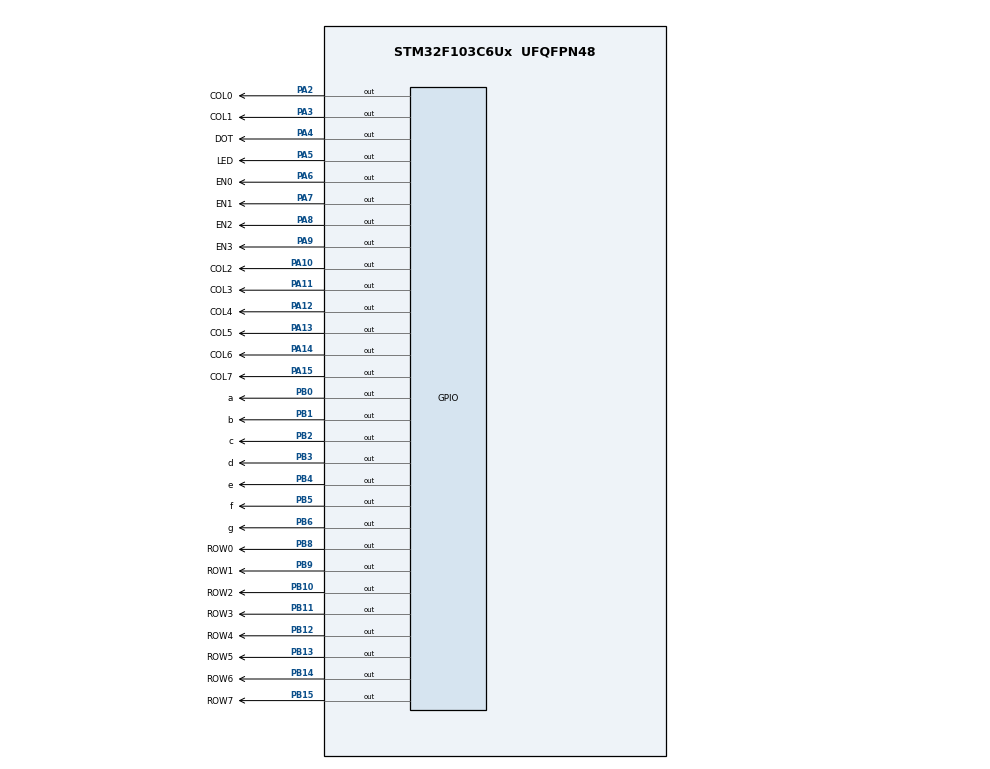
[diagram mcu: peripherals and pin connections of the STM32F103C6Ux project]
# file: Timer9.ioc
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Mcu.Family=STM32F1
Mcu.Name=STM32F103C6Ux
Mcu.Package=UFQFPN48
NVIC.PriorityGroup=NVIC_PRIORITYGROUP_4
NVIC.TIM2_IRQn=true\:0\:0\:false\:false\:true\:true\:true
PA10.GPIO_Label=COL2
PA10.Signal=GPIO_Output
PA11.GPIO_Label=COL3
PA11.Signal=GPIO_Output
PA12.GPIO_Label=COL4
PA12.Signal=GPIO_Output
PA13.GPIO_Label=COL5
PA13.Signal=GPIO_Output
PA14.GPIO_Label=COL6
PA14.Signal=GPIO_Output
PA15.GPIO_Label=COL7
PA15.Signal=GPIO_Output
PA2.GPIO_Label=COL0
PA2.Signal=GPIO_Output
PA3.GPIO_Label=COL1
PA3.Signal=GPIO_Output
PA4.GPIO_Label=DOT
PA4.Signal=GPIO_Output
PA5.GPIO_Label=LED
PA5.Signal=GPIO_Output
PA6.GPIO_Label=EN0
PA6.Signal=GPIO_Output
PA7.GPIO_Label=EN1
PA7.Signal=GPIO_Output
PA8.GPIO_Label=EN2
PA8.Signal=GPIO_Output
PA9.GPIO_Label=EN3
PA9.Signal=GPIO_Output
PB0.GPIO_Label=a
PB0.Signal=GPIO_Output
PB1.GPIO_Label=b
PB1.Signal=GPIO_Output
PB10.GPIO_Label=ROW2
PB10.Signal=GPIO_Output
PB11.GPIO_Label=ROW3
PB11.Signal=GPIO_Output
PB12.GPIO_Label=ROW4
PB12.Signal=GPIO_Output
PB13.GPIO_Label=ROW5
PB13.Signal=GPIO_Output
PB14.GPIO_Label=ROW6
PB14.Signal=GPIO_Output
PB15.GPIO_Label=ROW7
PB15.Signal=GPIO_Output
PB2.GPIO_Label=c
PB2.Signal=GPIO_Output
PB3.GPIO_Label=d
PB3.Signal=GPIO_Output
PB4.GPIO_Label=e
PB4.Signal=GPIO_Output
PB5.GPIO_Label=f
PB5.Signal=GPIO_Output
PB6.GPIO_Label=g
PB6.Signal=GPIO_Output
PB8.GPIO_Label=ROW0
PB8.Signal=GPIO_Output
PB9.GPIO_Label=ROW1
PB9.Signal=GPIO_Output
ProjectManager.HeapSize=0x200
ProjectManager.StackSize=0x400
ProjectManager.TargetToolchain=STM32CubeIDE
RCC.APB1Freq_Value=8000000
RCC.APB2Freq_Value=8000000
TIM2.Period=10
TIM2.Prescaler=7999
VP_SYS_VS_ND.Mode=No_Debug
VP_TIM2_VS_ClockSourceINT.Mode=Internal
board=custom

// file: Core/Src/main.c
/* USER CODE BEGIN Header */
/**
  ******************************************************************************
  * @file           : main.c
  * @brief          : Main program body
  ******************************************************************************
  * @attention
  *
  * <h2><center>&copy; Copyright (c) 2022 STMicroelectronics.
  * All rights reserved.</center></h2>
  *
  * This software component is licensed by ST under BSD 3-Clause license,
  * the "License"; You may not use this file except in compliance with the
  * License. You may obtain a copy of the License at:
  *                        opensource.org/licenses/BSD-3-Clause
  *
  ******************************************************************************
  */
/* USER CODE END Header */
#include "main.h"

/* USER CODE BEGIN Includes */
#include "software_timer.h"

/* USER CODE END Includes */

TIM_HandleTypeDef htim2;

void SystemClock_Config(void);
static void MX_GPIO_Init(void);
static void MX_TIM2_Init(void);

/* USER CODE BEGIN 0 */

void HAL_TIM_PeriodElapsedCallback(TIM_HandleTypeDef *htim){
	timerRun();
}

void display7SEG(int num){
 	  HAL_GPIO_WritePin ( a_GPIO_Port , a_Pin , GPIO_PIN_RESET ) ;
 	  HAL_GPIO_WritePin ( b_GPIO_Port , b_Pin , GPIO_PIN_RESET ) ;
 	  HAL_GPIO_WritePin ( c_GPIO_Port , c_Pin , GPIO_PIN_RESET ) ;
 	  HAL_GPIO_WritePin ( d_GPIO_Port , d_Pin , GPIO_PIN_RESET ) ;
 	  HAL_GPIO_WritePin ( e_GPIO_Port , e_Pin , GPIO_PIN_RESET ) ;
 	  HAL_GPIO_WritePin ( f_GPIO_Port , f_Pin , GPIO_PIN_RESET ) ;
 	  HAL_GPIO_WritePin ( g_GPIO_Port , g_Pin , GPIO_PIN_RESET ) ;
 	  if(num == 1 || num == 4)  HAL_GPIO_WritePin ( a_GPIO_Port , a_Pin , GPIO_PIN_SET ) ;
 	  if(num == 5 || num == 6)  HAL_GPIO_WritePin ( b_GPIO_Port , b_Pin , GPIO_PIN_SET ) ;
 	  if(num == 2)  HAL_GPIO_WritePin ( c_GPIO_Port , c_Pin , GPIO_PIN_SET ) ;
 	  if(num == 1 || num == 4 || num == 7)  HAL_GPIO_WritePin ( d_GPIO_Port , d_Pin , GPIO_PIN_SET ) ;
 	  if(num != 0 && num != 2 && num != 6 && num != 8)  HAL_GPIO_WritePin ( e_GPIO_Port , e_Pin , GPIO_PIN_SET ) ;
 	  if(num == 1 || num == 2 || num == 3 || num == 7)  HAL_GPIO_WritePin ( f_GPIO_Port , f_Pin , GPIO_PIN_SET ) ;
 	  if(num == 0 || num == 1 || num == 7)  HAL_GPIO_WritePin ( g_GPIO_Port , g_Pin , GPIO_PIN_SET ) ;
   }
int led_buffer [4] = {0 , 1 , 2 , 3};
void update7SEG ( int index ) {
   switch ( index ) {
	   case 0:
	   // Display the first 7 SEG with led_buffer [0]
		   HAL_GPIO_WritePin(EN0_GPIO_Port, EN0_Pin, GPIO_PIN_RESET );
		   HAL_GPIO_WritePin(EN1_GPIO_Port, EN1_Pin, GPIO_PIN_SET );
		   HAL_GPIO_WritePin(EN2_GPIO_Port, EN2_Pin, GPIO_PIN_SET );
		   HAL_GPIO_WritePin(EN3_GPIO_Port, EN3_Pin, GPIO_PIN_SET );
		   display7SEG(led_buffer[0]);
		   break ;
	   case 1:
	   // Display the second 7 SEG with led_buffer [1]
		   HAL_GPIO_WritePin(EN0_GPIO_Port, EN0_Pin, GPIO_PIN_SET );
		   HAL_GPIO_WritePin(EN1_GPIO_Port, EN1_Pin, GPIO_PIN_RESET );
		   HAL_GPIO_WritePin(EN2_GPIO_Port, EN2_Pin, GPIO_PIN_SET );
		   HAL_GPIO_WritePin(EN3_GPIO_Port, EN3_Pin, GPIO_PIN_SET );
		   display7SEG(led_buffer[1]);
		   break ;
	   case 2:
	   // Display the third 7 SEG with led_buffer [2]
		   HAL_GPIO_WritePin(EN0_GPIO_Port, EN0_Pin, GPIO_PIN_SET );
		   HAL_GPIO_WritePin(EN1_GPIO_Port, EN1_Pin, GPIO_PIN_SET );
		   HAL_GPIO_WritePin(EN2_GPIO_Port, EN2_Pin, GPIO_PIN_RESET );
		   HAL_GPIO_WritePin(EN3_GPIO_Port, EN3_Pin, GPIO_PIN_SET );
		   display7SEG(led_buffer[2]);
		   break ;
	   case 3:
	   // Display the forth 7 SEG with led_buffer [3]
		   HAL_GPIO_WritePin(EN0_GPIO_Port, EN0_Pin, GPIO_PIN_SET );
		   HAL_GPIO_WritePin(EN1_GPIO_Port, EN1_Pin, GPIO_PIN_SET );
		   HAL_GPIO_WritePin(EN2_GPIO_Port, EN2_Pin, GPIO_PIN_SET );
		   HAL_GPIO_WritePin(EN3_GPIO_Port, EN3_Pin, GPIO_PIN_RESET );
		   display7SEG(led_buffer[3]);
		   break ;
	   default :
		   break ;
		   }
	   }

const int MAX_LED = 4;
int index_led = 0;

void updateClockBuffer(int hour, int minute){
	if(hour < 10)
	{
		led_buffer[0] = 0;
		led_buffer[1] = hour;
	}
	else {
		led_buffer[0] = hour/10;
		led_buffer[1] = hour%10;
	}
	if(minute < 10)
	{
		led_buffer[2] = 0;
		led_buffer[3] = minute;
	}
	else {
		led_buffer[2] = minute/10;
		led_buffer[3] = minute%10;
	}
	if(index_led >= MAX_LED) index_led = 0;
	update7SEG(index_led);
	index_led++;
}

const int MAX_LED_MATRIX = 8;
int index_led_matrix = 0;
int matrix_buffer [8][8] = {
							{0,0,0,0,0,0,0,0},
							{0,0,0,0,0,0,0,0},
							{0,0,0,0,0,0,0,0},
							{0,0,0,0,0,0,0,0},
							{0,0,0,0,0,0,0,0},
							{0,0,0,0,0,0,0,0},
							{0,0,0,0,0,0,0,0},
							{0,0,0,0,0,0,0,0}
						   };

void updateLEDMatrix(int index){
	switch(index){
	case 0:
		HAL_GPIO_WritePin(COL0_GPIO_Port, COL0_Pin, GPIO_PIN_SET);
			HAL_GPIO_WritePin(COL1_GPIO_Port, COL1_Pin, GPIO_PIN_RESET);
			HAL_GPIO_WritePin(COL2_GPIO_Port, COL2_Pin, GPIO_PIN_RESET);
			HAL_GPIO_WritePin(COL3_GPIO_Port, COL3_Pin, GPIO_PIN_RESET);
			HAL_GPIO_WritePin(COL4_GPIO_Port, COL4_Pin, GPIO_PIN_RESET);
			HAL_GPIO_WritePin(COL5_GPIO_Port, COL5_Pin, GPIO_PIN_RESET);
			HAL_GPIO_WritePin(COL6_GPIO_Port, COL6_Pin, GPIO_PIN_RESET);
			HAL_GPIO_WritePin(COL7_GPIO_Port, COL7_Pin, GPIO_PIN_RESET);
		break;
	case 1:
		HAL_GPIO_WritePin(COL0_GPIO_Port, COL0_Pin, GPIO_PIN_RESET);
			HAL_GPIO_WritePin(COL1_GPIO_Port, COL1_Pin, GPIO_PIN_SET);
			HAL_GPIO_WritePin(COL2_GPIO_Port, COL2_Pin, GPIO_PIN_RESET);
			HAL_GPIO_WritePin(COL3_GPIO_Port, COL3_Pin, GPIO_PIN_RESET);
			HAL_GPIO_WritePin(COL4_GPIO_Port, COL4_Pin, GPIO_PIN_RESET);
			HAL_GPIO_WritePin(COL5_GPIO_Port, COL5_Pin, GPIO_PIN_RESET);
			HAL_GPIO_WritePin(COL6_GPIO_Port, COL6_Pin, GPIO_PIN_RESET);
			HAL_GPIO_WritePin(COL7_GPIO_Port, COL7_Pin, GPIO_PIN_RESET);
		break;
	case 2:
		HAL_GPIO_WritePin(COL0_GPIO_Port, COL0_Pin, GPIO_PIN_RESET);
			HAL_GPIO_WritePin(COL1_GPIO_Port, COL1_Pin, GPIO_PIN_RESET);
			HAL_GPIO_WritePin(COL2_GPIO_Port, COL2_Pin, GPIO_PIN_SET);
			HAL_GPIO_WritePin(COL3_GPIO_Port, COL3_Pin, GPIO_PIN_RESET);
			HAL_GPIO_WritePin(COL4_GPIO_Port, COL4_Pin, GPIO_PIN_RESET);
			HAL_GPIO_WritePin(COL5_GPIO_Port, COL5_Pin, GPIO_PIN_RESET);
			HAL_GPIO_WritePin(COL6_GPIO_Port, COL6_Pin, GPIO_PIN_RESET);
			HAL_GPIO_WritePin(COL7_GPIO_Port, COL7_Pin, GPIO_PIN_RESET);
		break;
	case 3:
		HAL_GPIO_WritePin(COL0_GPIO_Port, COL0_Pin, GPIO_PIN_RESET);
			HAL_GPIO_WritePin(COL1_GPIO_Port, COL1_Pin, GPIO_PIN_RESET);
			HAL_GPIO_WritePin(COL2_GPIO_Port, COL2_Pin, GPIO_PIN_RESET);
			HAL_GPIO_WritePin(COL3_GPIO_Port, COL3_Pin, GPIO_PIN_SET);
			HAL_GPIO_WritePin(COL4_GPIO_Port, COL4_Pin, GPIO_PIN_RESET);
			HAL_GPIO_WritePin(COL5_GPIO_Port, COL5_Pin, GPIO_PIN_RESET);
			HAL_GPIO_WritePin(COL6_GPIO_Port, COL6_Pin, GPIO_PIN_RESET);
			HAL_GPIO_WritePin(COL7_GPIO_Port, COL7_Pin, GPIO_PIN_RESET);
		break;
	case 4:
		HAL_GPIO_WritePin(COL0_GPIO_Port, COL0_Pin, GPIO_PIN_RESET);
			HAL_GPIO_WritePin(COL1_GPIO_Port, COL1_Pin, GPIO_PIN_RESET);
			HAL_GPIO_WritePin(COL2_GPIO_Port, COL2_Pin, GPIO_PIN_RESET);
			HAL_GPIO_WritePin(COL3_GPIO_Port, COL3_Pin, GPIO_PIN_RESET);
			HAL_GPIO_WritePin(COL4_GPIO_Port, COL4_Pin, GPIO_PIN_SET);
			HAL_GPIO_WritePin(COL5_GPIO_Port, COL5_Pin, GPIO_PIN_RESET);
			HAL_GPIO_WritePin(COL6_GPIO_Port, COL6_Pin, GPIO_PIN_RESET);
			HAL_GPIO_WritePin(COL7_GPIO_Port, COL7_Pin, GPIO_PIN_RESET);
		break;
	case 5:
		HAL_GPIO_WritePin(COL0_GPIO_Port, COL0_Pin, GPIO_PIN_RESET);
			HAL_GPIO_WritePin(COL1_GPIO_Port, COL1_Pin, GPIO_PIN_RESET);
			HAL_GPIO_WritePin(COL2_GPIO_Port, COL2_Pin, GPIO_PIN_RESET);
			HAL_GPIO_WritePin(COL3_GPIO_Port, COL3_Pin, GPIO_PIN_RESET);
			HAL_GPIO_WritePin(COL4_GPIO_Port, COL4_Pin, GPIO_PIN_RESET);
			HAL_GPIO_WritePin(COL5_GPIO_Port, COL5_Pin, GPIO_PIN_SET);
			HAL_GPIO_WritePin(COL6_GPIO_Port, COL6_Pin, GPIO_PIN_RESET);
			HAL_GPIO_WritePin(COL7_GPIO_Port, COL7_Pin, GPIO_PIN_RESET);
		break;
	case 6:
		HAL_GPIO_WritePin(COL0_GPIO_Port, COL0_Pin, GPIO_PIN_RESET);
			HAL_GPIO_WritePin(COL1_GPIO_Port, COL1_Pin, GPIO_PIN_RESET);
			HAL_GPIO_WritePin(COL2_GPIO_Port, COL2_Pin, GPIO_PIN_RESET);
			HAL_GPIO_WritePin(COL3_GPIO_Port, COL3_Pin, GPIO_PIN_RESET);
			HAL_GPIO_WritePin(COL4_GPIO_Port, COL4_Pin, GPIO_PIN_RESET);
			HAL_GPIO_WritePin(COL5_GPIO_Port, COL5_Pin, GPIO_PIN_RESET);
			HAL_GPIO_WritePin(COL6_GPIO_Port, COL6_Pin, GPIO_PIN_SET);
			HAL_GPIO_WritePin(COL7_GPIO_Port, COL7_Pin, GPIO_PIN_RESET);
		break;
	case 7:
		HAL_GPIO_WritePin(COL0_GPIO_Port, COL0_Pin, GPIO_PIN_RESET);
			HAL_GPIO_WritePin(COL1_GPIO_Port, COL1_Pin, GPIO_PIN_RESET);
			HAL_GPIO_WritePin(COL2_GPIO_Port, COL2_Pin, GPIO_PIN_RESET);
			HAL_GPIO_WritePin(COL3_GPIO_Port, COL3_Pin, GPIO_PIN_RESET);
			HAL_GPIO_WritePin(COL4_GPIO_Port, COL4_Pin, GPIO_PIN_RESET);
			HAL_GPIO_WritePin(COL5_GPIO_Port, COL5_Pin, GPIO_PIN_RESET);
			HAL_GPIO_WritePin(COL6_GPIO_Port, COL6_Pin, GPIO_PIN_RESET);
			HAL_GPIO_WritePin(COL7_GPIO_Port, COL7_Pin, GPIO_PIN_SET);
		break;
	}
}

void clearRow(){
	HAL_GPIO_WritePin(ROW0_GPIO_Port, ROW0_Pin, GPIO_PIN_RESET);
	HAL_GPIO_WritePin(ROW1_GPIO_Port, ROW1_Pin, GPIO_PIN_RESET);
	HAL_GPIO_WritePin(ROW2_GPIO_Port, ROW2_Pin, GPIO_PIN_RESET);
	HAL_GPIO_WritePin(ROW3_GPIO_Port, ROW3_Pin, GPIO_PIN_RESET);
	HAL_GPIO_WritePin(ROW4_GPIO_Port, ROW4_Pin, GPIO_PIN_RESET);
	HAL_GPIO_WritePin(ROW5_GPIO_Port, ROW5_Pin, GPIO_PIN_RESET);
	HAL_GPIO_WritePin(ROW6_GPIO_Port, ROW6_Pin, GPIO_PIN_RESET);
	HAL_GPIO_WritePin(ROW7_GPIO_Port, ROW7_Pin, GPIO_PIN_RESET);
}

void display_A(int index){
	if(index == 1 || index == 6){
		clearRow();
		updateLEDMatrix(index);
		HAL_GPIO_WritePin(ROW0_GPIO_Port, ROW0_Pin, GPIO_PIN_SET);
		HAL_GPIO_WritePin(ROW1_GPIO_Port, ROW1_Pin, GPIO_PIN_SET);
	}
	else if(index == 2 || index == 5){
		clearRow();
		updateLEDMatrix(index);
		HAL_GPIO_WritePin(ROW0_GPIO_Port, ROW0_Pin, GPIO_PIN_SET);
	}
	else if(index == 3 || index == 4){
		clearRow();
		updateLEDMatrix(index);
		HAL_GPIO_WritePin(ROW2_GPIO_Port, ROW2_Pin, GPIO_PIN_SET);
		HAL_GPIO_WritePin(ROW3_GPIO_Port, ROW3_Pin, GPIO_PIN_SET);
		HAL_GPIO_WritePin(ROW6_GPIO_Port, ROW6_Pin, GPIO_PIN_SET);
		HAL_GPIO_WritePin(ROW7_GPIO_Port, ROW7_Pin, GPIO_PIN_SET);
	}
}
/* USER CODE END 0 */

int main(void)
{

  /* MCU Configuration--------------------------------------------------------*/

  /* Reset of all peripherals, Initializes the Flash interface and the Systick. */
  HAL_Init();

  /* Configure the system clock */
  SystemClock_Config();

  /* Initialize all configured peripherals */
  MX_GPIO_Init();
  MX_TIM2_Init();
  /* USER CODE BEGIN 2 */
  HAL_TIM_Base_Start_IT (& htim2 ) ;
  /* USER CODE END 2 */

  /* Infinite loop */
  while (1)
  {

    /* USER CODE BEGIN 3 */
	  if(index_led_matrix >= MAX_LED_MATRIX) index_led_matrix = 0;
	  display_A(index_led_matrix);
	  index_led_matrix++;
	  HAL_Delay(10);
  }
  /* USER CODE END 3 */
}

void SystemClock_Config(void)
{
  RCC_OscInitTypeDef RCC_OscInitStruct = {0};
  RCC_ClkInitTypeDef RCC_ClkInitStruct = {0};

  /** Initializes the RCC Oscillators according to the specified parameters
  * in the RCC_OscInitTypeDef structure.
  */
  RCC_OscInitStruct.OscillatorType = RCC_OSCILLATORTYPE_HSI;
  RCC_OscInitStruct.HSIState = RCC_HSI_ON;
  RCC_OscInitStruct.HSICalibrationValue = RCC_HSICALIBRATION_DEFAULT;
  RCC_OscInitStruct.PLL.PLLState = RCC_PLL_NONE;
  if (HAL_RCC_OscConfig(&RCC_OscInitStruct) != HAL_OK)
  {
    Error_Handler();
  }
  /** Initializes the CPU, AHB and APB buses clocks
  */
  RCC_ClkInitStruct.ClockType = RCC_CLOCKTYPE_HCLK|RCC_CLOCKTYPE_SYSCLK
                              |RCC_CLOCKTYPE_PCLK1|RCC_CLOCKTYPE_PCLK2;
  RCC_ClkInitStruct.SYSCLKSource = RCC_SYSCLKSOURCE_HSI;
  RCC_ClkInitStruct.AHBCLKDivider = RCC_SYSCLK_DIV1;
  RCC_ClkInitStruct.APB1CLKDivider = RCC_HCLK_DIV1;
  RCC_ClkInitStruct.APB2CLKDivider = RCC_HCLK_DIV1;

  if (HAL_RCC_ClockConfig(&RCC_ClkInitStruct, FLASH_LATENCY_0) != HAL_OK)
  {
    Error_Handler();
  }
}

static void MX_TIM2_Init(void)
{

  TIM_ClockConfigTypeDef sClockSourceConfig = {0};
  TIM_MasterConfigTypeDef sMasterConfig = {0};

  htim2.Instance = TIM2;
  htim2.Init.Prescaler = 7999;
  htim2.Init.CounterMode = TIM_COUNTERMODE_UP;
  htim2.Init.Period = 10;
  htim2.Init.ClockDivision = TIM_CLOCKDIVISION_DIV1;
  htim2.Init.AutoReloadPreload = TIM_AUTORELOAD_PRELOAD_DISABLE;
  if (HAL_TIM_Base_Init(&htim2) != HAL_OK)
  {
    Error_Handler();
  }
  sClockSourceConfig.ClockSource = TIM_CLOCKSOURCE_INTERNAL;
  if (HAL_TIM_ConfigClockSource(&htim2, &sClockSourceConfig) != HAL_OK)
  {
    Error_Handler();
  }
  sMasterConfig.MasterOutputTrigger = TIM_TRGO_RESET;
  sMasterConfig.MasterSlaveMode = TIM_MASTERSLAVEMODE_DISABLE;
  if (HAL_TIMEx_MasterConfigSynchronization(&htim2, &sMasterConfig) != HAL_OK)
  {
    Error_Handler();
  }

}

static void MX_GPIO_Init(void)
{
  GPIO_InitTypeDef GPIO_InitStruct = {0};

  /* GPIO Ports Clock Enable */
  __HAL_RCC_GPIOA_CLK_ENABLE();
  __HAL_RCC_GPIOB_CLK_ENABLE();

  /*Configure GPIO pin Output Level */
  HAL_GPIO_WritePin(GPIOA, COL0_Pin|COL1_Pin|DOT_Pin|LED_Pin
                          |EN0_Pin|EN1_Pin|EN2_Pin|EN3_Pin
                          |COL2_Pin|COL3_Pin|COL4_Pin|COL5_Pin
                          |COL6_Pin|COL7_Pin, GPIO_PIN_RESET);

  /*Configure GPIO pin Output Level */
  HAL_GPIO_WritePin(GPIOB, a_Pin|b_Pin|c_Pin|ROW2_Pin
                          |ROW3_Pin|ROW4_Pin|ROW5_Pin|ROW6_Pin
                          |ROW7_Pin|d_Pin|e_Pin|f_Pin
                          |g_Pin|ROW0_Pin|ROW1_Pin, GPIO_PIN_RESET);

  /*Configure GPIO pins : COL0_Pin COL1_Pin DOT_Pin LED_Pin
                           EN0_Pin EN1_Pin EN2_Pin EN3_Pin
                           COL2_Pin COL3_Pin COL4_Pin COL5_Pin
                           COL6_Pin COL7_Pin */
  GPIO_InitStruct.Pin = COL0_Pin|COL1_Pin|DOT_Pin|LED_Pin
                          |EN0_Pin|EN1_Pin|EN2_Pin|EN3_Pin
                          |COL2_Pin|COL3_Pin|COL4_Pin|COL5_Pin
                          |COL6_Pin|COL7_Pin;
  GPIO_InitStruct.Mode = GPIO_MODE_OUTPUT_PP;
  GPIO_InitStruct.Pull = GPIO_NOPULL;
  GPIO_InitStruct.Speed = GPIO_SPEED_FREQ_LOW;
  HAL_GPIO_Init(GPIOA, &GPIO_InitStruct);

  /*Configure GPIO pins : a_Pin b_Pin c_Pin ROW2_Pin
                           ROW3_Pin ROW4_Pin ROW5_Pin ROW6_Pin
                           ROW7_Pin d_Pin e_Pin f_Pin
                           g_Pin ROW0_Pin ROW1_Pin */
  GPIO_InitStruct.Pin = a_Pin|b_Pin|c_Pin|ROW2_Pin
                          |ROW3_Pin|ROW4_Pin|ROW5_Pin|ROW6_Pin
                          |ROW7_Pin|d_Pin|e_Pin|f_Pin
                          |g_Pin|ROW0_Pin|ROW1_Pin;
  GPIO_InitStruct.Mode = GPIO_MODE_OUTPUT_PP;
  GPIO_InitStruct.Pull = GPIO_NOPULL;
  GPIO_InitStruct.Speed = GPIO_SPEED_FREQ_LOW;
  HAL_GPIO_Init(GPIOB, &GPIO_InitStruct);

}

void Error_Handler(void)
{
  __disable_irq();
  while (1)
  {
  }
}

/************************ (C) COPYRIGHT STMicroelectronics *****END OF FILE****/
